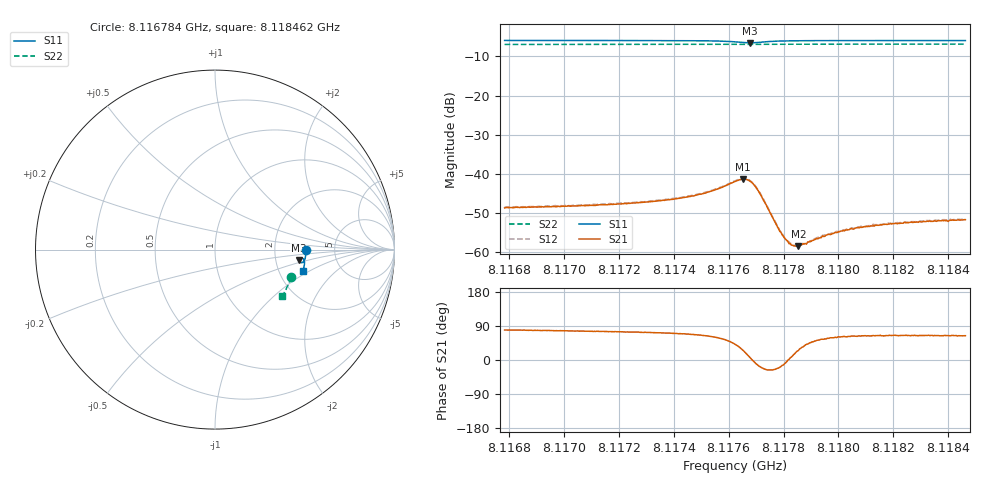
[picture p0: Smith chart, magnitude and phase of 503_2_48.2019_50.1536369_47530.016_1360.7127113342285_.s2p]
#  HZ  S  RI  R  50.00
! Rohde & Schwarz Vector Network Analyzer
! Rohde-Schwarz,ZNB20-2Port,1311601062101988,3.16
! Created: UTC 3/20/2024, 11:58:39 AM
! freq[Hz]  re:S11  im:S11  re:S21  im:S21  re:S12  im:S12  re:S22  im:S22
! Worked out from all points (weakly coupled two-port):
!   401 points, 8.116784 GHz to 8.118462 GHz, reference 50 ohm
!   highest |S21| = -41.33 dB at 8.117653 GHz (marker M1); lowest = -58.4 dB at 8.117854 GHz (marker M2)
!   lowest |S11| = -6.5 dB at 8.117678 GHz (marker M3), VSWR 2.79, Z = 136 - j20.3 ohm
!   |S11| at or under -10 dB: nowhere
!   |S22| runs from -6.9 to -6.8 dB; largest |S21 - S12| = 0.00024
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8.1167845e9  0.5068 0.000483  0.000693 0.00362  0.000768 0.00368  0.4237 -0.1541
8.1170655e9  0.5058 -0.0214  0.000935 0.00384  0.00103 0.00386  0.4172 -0.1728
8.1173465e9  0.5031 -0.0448  0.00142 0.00432  0.0015 0.00439  0.4101 -0.191
8.1174388e9  0.5011 -0.0535  0.00178 0.00468  0.00188 0.00472  0.4074 -0.197
8.1175101e9  0.4981 -0.0612  0.00242 0.0051  0.00249 0.00521  0.4053 -0.2015
8.1175646e9  0.4934 -0.0679  0.00342 0.00552  0.00355 0.00559  0.4035 -0.2052
8.1176233e9  0.4813 -0.0731  0.00597 0.00533  0.00611 0.00537  0.4012 -0.2087
8.1176527e9  0.4717 -0.0689  0.00777 0.00366  0.00794 0.0037  0.3999 -0.2102
8.1176779e9  0.4682 -0.0582  0.00804 0.000931  0.00819 0.000871  0.3993 -0.2111
8.1176946e9  0.4715 -0.0512  0.00705 -0.000755  0.00722 -0.00083  0.399 -0.2119
8.1177114e9  0.4774 -0.0472  0.00559 -0.00164  0.00572 -0.00169  0.3988 -0.2128
8.1177785e9  0.4942 -0.0534  0.00194 -0.000773  0.00202 -0.000821  0.3976 -0.2174
8.1178037e9  0.4962 -0.0575  0.0015 -0.000258  0.00149 -0.000281  0.3968 -0.219
8.1178289e9  0.4976 -0.0612  0.00122 0.000174  0.00127 0.000208  0.396 -0.2208
8.1178414e9  0.4979 -0.0628  0.00115 0.000353  0.00118 0.000358  0.3957 -0.2215
8.117854e9  0.4983 -0.0645  0.00109 0.000501  0.00111 0.00054  0.3953 -0.2223
8.1179044e9  0.4987 -0.0705  0.000944 0.00104  0.000997 0.00106  0.3938 -0.2257
8.1179421e9  0.4987 -0.0744  0.000927 0.00132  0.000918 0.00137  0.3925 -0.2281
8.1180218e9  0.4981 -0.082  0.000877 0.00165  0.000951 0.00168  0.3898 -0.2331
8.1180805e9  0.4974 -0.0869  0.000949 0.00186  0.000981 0.0019  0.3879 -0.2366
8.1181854e9  0.4961 -0.0957  0.000966 0.00208  0.000992 0.00211  0.3841 -0.2431
8.1184622e9  0.4914 -0.117  0.00114 0.00234  0.0012 0.00237  0.3741 -0.2597
